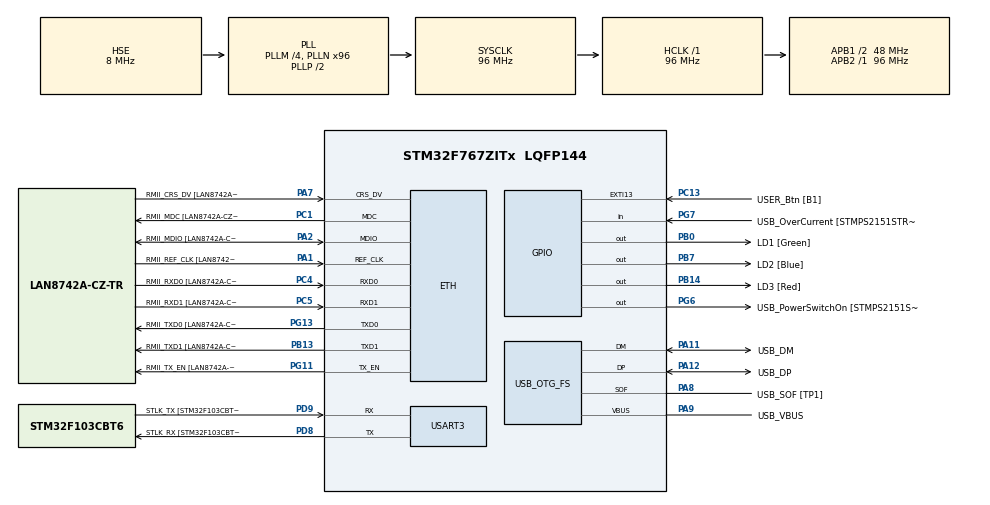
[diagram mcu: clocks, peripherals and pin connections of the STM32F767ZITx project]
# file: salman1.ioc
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ETH.MediaInterface=HAL_ETH_RMII_MODE
ETH.PHY_Name=LAN8742A_PHY_ADDRESS
ETH.PHY_Value=0
ETH.PhyAddress=0
Mcu.Family=STM32F7
Mcu.Name=STM32F767ZITx
Mcu.Package=LQFP144
NVIC.PriorityGroup=NVIC_PRIORITYGROUP_4
NVIC.USART3_IRQn=true\:0\:0\:false\:false\:true\:true\:true\:true
PA1.GPIO_Label=RMII_REF_CLK [LAN8742A-CZ-TR_REFCLK0]
PA1.Mode=RMII
PA1.Signal=ETH_REF_CLK
PA10.GPIO_Label=USB_ID
PA10.Signal=USB_OTG_FS_ID
PA11.GPIO_Label=USB_DM
PA11.Mode=Device_Only
PA11.Signal=USB_OTG_FS_DM
PA12.GPIO_Label=USB_DP
PA12.Mode=Device_Only
PA12.Signal=USB_OTG_FS_DP
PA13.GPIO_Label=TMS
PA13.Mode=Serial_Wire
PA13.Signal=SYS_JTMS-SWDIO
PA14.GPIO_Label=TCK
PA14.Mode=Serial_Wire
PA14.Signal=SYS_JTCK-SWCLK
PA2.GPIO_Label=RMII_MDIO [LAN8742A-CZ-TR_MDIO]
PA2.Mode=RMII
PA2.Signal=ETH_MDIO
PA7.GPIO_Label=RMII_CRS_DV [LAN8742A-CZ-TR_CRS_DV]
PA7.Mode=RMII
PA7.Signal=ETH_CRS_DV
PA8.GPIO_Label=USB_SOF [TP1]
PA8.Mode=Activate_SOF_FS
PA8.Signal=USB_OTG_FS_SOF
PA9.GPIO_Label=USB_VBUS
PA9.Mode=Activate_VBUS
PA9.Signal=USB_OTG_FS_VBUS
PB0.GPIO_Label=LD1 [Green]
PB0.Signal=GPIO_Output
PB13.GPIO_Label=RMII_TXD1 [LAN8742A-CZ-TR_TXD1]
PB13.Mode=RMII
PB13.Signal=ETH_TXD1
PB14.GPIO_Label=LD3 [Red]
PB14.Signal=GPIO_Output
PB3.GPIO_Label=SWO
PB3.Signal=SYS_JTDO-SWO
PB7.GPIO_Label=LD2 [Blue]
PB7.Signal=GPIO_Output
PC1.GPIO_Label=RMII_MDC [LAN8742A-CZ-TR_MDC]
PC1.Mode=RMII
PC1.Signal=ETH_MDC
PC13.GPIO_Label=USER_Btn [B1]
PC13.Signal=GPXTI13
PC14/OSC32_IN.Mode=LSE-External-Oscillator
PC14/OSC32_IN.Signal=RCC_OSC32_IN
PC15/OSC32_OUT.Mode=LSE-External-Oscillator
PC15/OSC32_OUT.Signal=RCC_OSC32_OUT
PC4.GPIO_Label=RMII_RXD0 [LAN8742A-CZ-TR_RXD0]
PC4.Mode=RMII
PC4.Signal=ETH_RXD0
PC5.GPIO_Label=RMII_RXD1 [LAN8742A-CZ-TR_RXD1]
PC5.Mode=RMII
PC5.Signal=ETH_RXD1
PD8.GPIO_Label=STLK_RX [STM32F103CBT6_PA3]
PD8.Mode=Asynchronous
PD8.Signal=USART3_TX
PD9.GPIO_Label=STLK_TX [STM32F103CBT6_PA2]
PD9.Mode=Asynchronous
PD9.Signal=USART3_RX
PG11.GPIO_Label=RMII_TX_EN [LAN8742A-CZ-TR_TXEN]
PG11.Mode=RMII
PG11.Signal=ETH_TX_EN
PG13.GPIO_Label=RMII_TXD0 [LAN8742A-CZ-TR_TXD0]
PG13.Mode=RMII
PG13.Signal=ETH_TXD0
PG6.GPIO_Label=USB_PowerSwitchOn [STMPS2151STR_EN]
PG6.Signal=GPIO_Output
PG7.GPIO_Label=USB_OverCurrent [STMPS2151STR_FAULT]
PG7.Signal=GPIO_Input
PH0/OSC_IN.GPIO_Label=MCO [STM32F103CBT6_PA8]
PH0/OSC_IN.Mode=HSE-External-Clock-Source
PH0/OSC_IN.Signal=RCC_OSC_IN
PH1/OSC_OUT.Mode=HSE-External-Clock-Source
PH1/OSC_OUT.Signal=RCC_OSC_OUT
ProjectManager.HeapSize=0x200
ProjectManager.StackSize=0x400
ProjectManager.TargetToolchain=STM32CubeIDE
RCC.48MHZClocksFreq_Value=24000000
RCC.AHBFreq_Value=96000000
RCC.APB1CLKDivider=RCC_HCLK_DIV2
RCC.APB1Freq_Value=48000000
RCC.APB1TimFreq_Value=96000000
RCC.APB2Freq_Value=96000000
RCC.APB2TimFreq_Value=96000000
RCC.CortexFreq_Value=96000000
RCC.HCLKFreq_Value=96000000
RCC.HSE_VALUE=8000000
RCC.HSI_VALUE=16000000
RCC.PLLM=4
RCC.PLLMUL=RCC_PLL_MUL9
RCC.PLLN=96
RCC.PLLQ=4
RCC.PRESCALERUSB=RCC_USBCLKSOURCE_PLL_DIV1_5
RCC.SYSCLKFreq_VALUE=96000000
RCC.SYSCLKSource=RCC_SYSCLKSOURCE_PLLCLK
RCC.SYSCLKSourceVirtual=RCC_SYSCLKSOURCE_PLLCLK
RCC.USBFreq_Value=48000000
RCC.VCOOutputFreq_Value=192000000
USART3.VirtualMode-Asynchronous=VM_ASYNC
USB_OTG_FS.VirtualMode=Device_Only
board=NUCLEO-F767ZI

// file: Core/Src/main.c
/* USER CODE BEGIN Header */
/**
  ******************************************************************************
  * @file           : main.c
  * @brief          : Main program body
  ******************************************************************************
  * @attention
  *
  * Copyright (c) 2022 STMicroelectronics.
  * All rights reserved.
  *
  * This software is licensed under terms that can be found in the LICENSE file
  * in the root directory of this software component.
  * If no LICENSE file comes with this software, it is provided AS-IS.
  *
  ******************************************************************************
  */
/* USER CODE END Header */
#include "main.h"
#include "eth.h"
#include "usart.h"
#include "usb_otg.h"
#include "gpio.h"
#include <string.h>

/* USER CODE BEGIN PTD */
typedef void (*commandCallback)(void);
typedef struct
{
	char *command;
	commandCallback callback;
}Command;

/* USER CODE END PTD */

/* USER CODE BEGIN PD */
#define NEW_LINE  "\r\n<<  "
#define DELETE "\b \b"
#define TX_BUFF_SIZE 100
#define RX_BUFF_SIZE 10
/* USER CODE END PD */

/* USER CODE BEGIN PV */
char znak;
char rx_buffer[RX_BUFF_SIZE];
char tx_buffer[TX_BUFF_SIZE];
uint8_t rx_buff_idx;
uint8_t tx_buff_idx;
static volatile uint8_t tx_ready = 0;

/* USER CODE END PV */

void SystemClock_Config(void);

/* USER CODE BEGIN PFP */
void fillTxBuffer(char *msg);
void uartTransmit(char* msg, uint8_t length, UART_HandleTypeDef *huart);
void executeCmd(char *cmd);
void helpCmd(void);
void ledonCmd(void);
void ledoffCmd(void);
void pingpongCmd(void);
Command cmdArray[] =
{
		{"help", helpCmd,},
		{"ledOn", ledonCmd,},
		{"ledOff", ledoffCmd,},
		{"ping", pingpongCmd,},
};
/* USER CODE END PFP */

int main(void)
{

  /* MCU Configuration--------------------------------------------------------*/

  /* Reset of all peripherals, Initializes the Flash interface and the Systick. */
  HAL_Init();

  /* Configure the system clock */
  SystemClock_Config();

  /* Initialize all configured peripherals */
  MX_GPIO_Init();
  MX_ETH_Init();
  MX_USART3_UART_Init();
  MX_USB_OTG_FS_PCD_Init();
  HAL_UART_Receive_IT(&huart3,&znak,1);
  //uartPrint(NEW_LINE);
  HAL_UART_Transmit_IT(&huart3,NEW_LINE,8);

  /* Infinite loop */
  while (1)
  {
	  HAL_GPIO_WritePin(LD2_GPIO_Port, LD2_Pin, GPIO_PIN_SET);
	  HAL_Delay(500);
	  HAL_GPIO_WritePin(LD2_GPIO_Port, LD2_Pin, GPIO_PIN_RESET);
	  HAL_Delay(500);
  }
}

void SystemClock_Config(void)
{
  RCC_OscInitTypeDef RCC_OscInitStruct = {0};
  RCC_ClkInitTypeDef RCC_ClkInitStruct = {0};

  /** Configure LSE Drive Capability
  */
  HAL_PWR_EnableBkUpAccess();

  /** Configure the main internal regulator output voltage
  */
  __HAL_RCC_PWR_CLK_ENABLE();
  __HAL_PWR_VOLTAGESCALING_CONFIG(PWR_REGULATOR_VOLTAGE_SCALE3);

  /** Initializes the RCC Oscillators according to the specified parameters
  * in the RCC_OscInitTypeDef structure.
  */
  RCC_OscInitStruct.OscillatorType = RCC_OSCILLATORTYPE_HSE;
  RCC_OscInitStruct.HSEState = RCC_HSE_BYPASS;
  RCC_OscInitStruct.PLL.PLLState = RCC_PLL_ON;
  RCC_OscInitStruct.PLL.PLLSource = RCC_PLLSOURCE_HSE;
  RCC_OscInitStruct.PLL.PLLM = 4;
  RCC_OscInitStruct.PLL.PLLN = 96;
  RCC_OscInitStruct.PLL.PLLP = RCC_PLLP_DIV2;
  RCC_OscInitStruct.PLL.PLLQ = 4;
  RCC_OscInitStruct.PLL.PLLR = 2;
  if (HAL_RCC_OscConfig(&RCC_OscInitStruct) != HAL_OK)
  {
    Error_Handler();
  }

  /** Activate the Over-Drive mode
  */
  if (HAL_PWREx_EnableOverDrive() != HAL_OK)
  {
    Error_Handler();
  }

  /** Initializes the CPU, AHB and APB buses clocks
  */
  RCC_ClkInitStruct.ClockType = RCC_CLOCKTYPE_HCLK|RCC_CLOCKTYPE_SYSCLK
                              |RCC_CLOCKTYPE_PCLK1|RCC_CLOCKTYPE_PCLK2;
  RCC_ClkInitStruct.SYSCLKSource = RCC_SYSCLKSOURCE_PLLCLK;
  RCC_ClkInitStruct.AHBCLKDivider = RCC_SYSCLK_DIV1;
  RCC_ClkInitStruct.APB1CLKDivider = RCC_HCLK_DIV2;
  RCC_ClkInitStruct.APB2CLKDivider = RCC_HCLK_DIV1;

  if (HAL_RCC_ClockConfig(&RCC_ClkInitStruct, FLASH_LATENCY_3) != HAL_OK)
  {
    Error_Handler();
  }
}

/* USER CODE BEGIN 4 */
void HAL_UART_TxCpltCallback(UART_HandleTypeDef *huart)
{
	if(huart->Instance==USART3)
	{
		tx_ready = 1;
	}
}

void HAL_UART_RxCpltCallback(UART_HandleTypeDef *huart)
{
	if(huart->Instance==USART3)
	{
		HAL_UART_Receive_IT(&huart3,&znak,1);

		if(znak=='\r'||znak=='\n')
		{
			rx_buffer[rx_buff_idx]='\0';
			executeCmd(rx_buffer);
		}
		else
		{
			if(rx_buff_idx<=RX_BUFF_SIZE)
			{
				if(znak=='\b')
				{
					uartTransmit(DELETE,3,&huart3);
					rx_buff_idx--;
					rx_buffer[rx_buff_idx]='/0';
				}
				else
				{
					rx_buffer[rx_buff_idx++]=znak;
					uartTransmit(&znak,1,&huart3);
				}
			}
			else
			{
				fillTxBuffer(NEW_LINE);
				fillTxBuffer(NEW_LINE);
				fillTxBuffer("Command too long");
				fillTxBuffer(NEW_LINE);
				rx_buff_idx=0;
			}
		}

	}
}
void uartTransmit(char* msg, uint8_t length, UART_HandleTypeDef *huart)
{
	if(huart->Instance==USART3)
	{
		if(tx_ready==1)
		{
			tx_ready=0;
			HAL_StatusTypeDef retVal = HAL_UART_Transmit_IT(&huart3,(uint8_t*)msg,length);
			if(retVal== HAL_OK)
			{
				memset(&tx_buffer,'\0',100);
				tx_buff_idx=0;
			}
		}
	}
}
void fillTxBuffer(char *msg)
{
	uint8_t i=0;
	while(*(msg+i)!='\0')
	{
		if(tx_buff_idx>=TX_BUFF_SIZE-1)
		{
			tx_buff_idx = 0;
			memset(tx_buffer,'\0',TX_BUFF_SIZE);
		}
		tx_buffer[tx_buff_idx++]=msg[i++];
	}
	uartTransmit(tx_buffer,TX_BUFF_SIZE,&huart3);
}

void executeCmd(char* cmd)
{
	rx_buff_idx=0;
	uint8_t cmd_found =0;
	for(int i=0; i<sizeof(cmdArray)/sizeof(Command);i++)
	{
		if(strcmp(rx_buffer,cmdArray[i].command)== 0)
		{
			cmdArray[i].callback();
			cmd_found = 1;
		}
	}
	if(cmd_found==0)
	{
		fillTxBuffer(NEW_LINE);
		fillTxBuffer(NEW_LINE);
		fillTxBuffer("Command not found");
		fillTxBuffer(NEW_LINE);

	}
}

void helpCmd(void)
{
	fillTxBuffer(NEW_LINE);
	fillTxBuffer(NEW_LINE);
	fillTxBuffer("Help:");
	fillTxBuffer(NEW_LINE);

	for(int i=0; i<sizeof(cmdArray)/sizeof(Command);i++)
	{
		fillTxBuffer(cmdArray[i].command);
		fillTxBuffer(NEW_LINE);
	}

}
void ledonCmd(void)
{
	fillTxBuffer(NEW_LINE);
	fillTxBuffer(NEW_LINE);
	fillTxBuffer("Turning led ON");
	fillTxBuffer(NEW_LINE);
	HAL_GPIO_WritePin(LD2_GPIO_Port, LD2_Pin, GPIO_PIN_SET);

}
void ledoffCmd(void)
{
	fillTxBuffer(NEW_LINE);
	fillTxBuffer(NEW_LINE);
	fillTxBuffer("Turning led OFF");
	fillTxBuffer(NEW_LINE);
	HAL_GPIO_WritePin(LD2_GPIO_Port, LD2_Pin, GPIO_PIN_RESET);

}
void pingpongCmd(void)
{
	fillTxBuffer(NEW_LINE);
	fillTxBuffer(NEW_LINE);
	fillTxBuffer("PONG");
	fillTxBuffer(NEW_LINE);

}
/* USER CODE END 4 */

void Error_Handler(void)
{
  __disable_irq();
  while (1)
  {
  }
}
